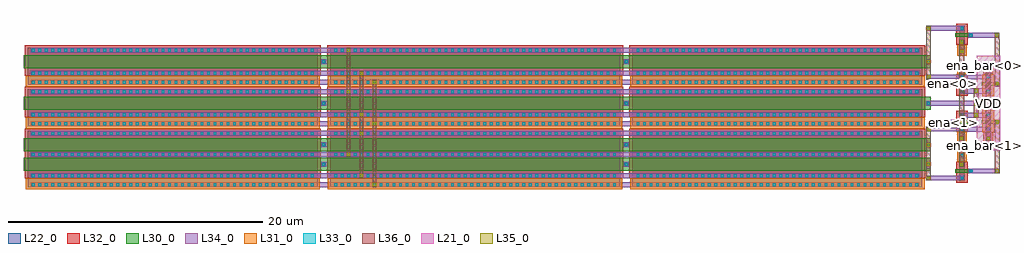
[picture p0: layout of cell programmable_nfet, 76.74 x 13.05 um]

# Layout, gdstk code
from math import pi, radians
import gdstk
lib = gdstk.Library(unit=1e-6, precision=5e-09)
def R(c, l, rs):  # rectangles x0, y0, x1, y1
    for r in rs: c.add(gdstk.rectangle(r[:2], r[2:], *l))
def A(c, l, x, y, w, h, nx, ny, dx, dy):  # array of equal rectangles
    R(c, l, [(x+i*dx, y+j*dy, x+i*dx+w, y+j*dy+h) for i in range(nx) for j in range(ny)])
L21_0 = (21, 0)
L22_0 = (22, 0)
L30_0 = (30, 0)
L31_0 = (31, 0)
L32_0 = (32, 0)
L33_0 = (33, 0)
L34_0 = (34, 0)
L35_0 = (35, 0)
L36_0 = (36, 0)

nfet_5 = lib.new_cell('nfet$5')
R(nfet_5, L22_0, [(-0.42,0,0,22.8), (0,0,2.9,22.8), (2.9,0,3.32,22.8), (3.32,0,4.03,22.8)])
R(nfet_5, L30_0, [(0.19,-0.3,1.19,23.1), (1.71,-0.3,2.71,23.1), (0.19,23.1,1.19,23.46), (1.71,23.1,2.71,23.46)])
R(nfet_5, L31_0, [(3.32,-0.17,4.2,22.97)])
R(nfet_5, L32_0, [(-0.59,-0.24,3.32,23.04)])
A(nfet_5, L33_0, -0.32, 0.325, 0.22, 0.22, 3, 44, 1.66, 0.51)
A(nfet_5, L33_0, 3.71, 0.325, 0.22, 0.22, 1, 44, 0, 0.51)
R(nfet_5, L33_0, [(0.58,23.17,0.8,23.39), (2.1,23.17,2.32,23.39)])
A(nfet_5, L34_0, -0.4, 0.245, 0.38, 22.31, 3, 1, 1.66, 0)
R(nfet_5, L34_0, [(3.63,0.245,4.01,22.555), (0.5,23.09,0.88,23.47), (2.02,23.09,2.4,23.47)])

nfet_1 = lib.new_cell('nfet$1')
R(nfet_1, L22_0, [(-0.42,0,0,22.8), (0,0,1.38,22.8), (1.38,0,1.8,22.8), (1.8,0,2.51,22.8)])
R(nfet_1, L30_0, [(0.19,-0.3,1.19,23.1), (0.19,23.1,1.19,23.46)])
R(nfet_1, L31_0, [(1.8,-0.17,2.68,22.97)])
R(nfet_1, L32_0, [(-0.59,-0.24,1.8,23.04)])
A(nfet_1, L33_0, -0.32, 0.325, 0.22, 0.22, 1, 44, 0, 0.51)
A(nfet_1, L33_0, 1.48, 0.325, 0.22, 0.22, 1, 44, 0, 0.51)
A(nfet_1, L33_0, 2.19, 0.325, 0.22, 0.22, 1, 44, 0, 0.51)
R(nfet_1, L33_0, [(0.58,23.17,0.8,23.39)])
R(nfet_1, L34_0, [(-0.4,0.245,-0.02,22.555), (1.4,0.245,1.78,22.555), (2.11,0.245,2.49,22.555), (0.5,23.09,0.88,23.47)])

nfet_2 = lib.new_cell('nfet$2')
R(nfet_2, L22_0, [(-0.42,0,0,22.8), (0,0,2.9,22.8), (2.9,0,3.32,22.8), (3.32,0,4.03,22.8)])
R(nfet_2, L30_0, [(0.19,-0.3,1.19,23.1), (1.71,-0.3,2.71,23.1), (0.19,23.1,1.19,23.46), (1.71,23.1,2.71,23.46)])
R(nfet_2, L31_0, [(3.32,-0.17,4.2,22.97)])
R(nfet_2, L32_0, [(-0.59,-0.24,3.32,23.04)])
A(nfet_2, L33_0, -0.32, 0.325, 0.22, 0.22, 3, 44, 1.66, 0.51)
A(nfet_2, L33_0, 3.71, 0.325, 0.22, 0.22, 1, 44, 0, 0.51)
R(nfet_2, L33_0, [(0.58,23.17,0.8,23.39), (2.1,23.17,2.32,23.39)])
A(nfet_2, L34_0, -0.4, 0.245, 0.38, 22.31, 3, 1, 1.66, 0)
R(nfet_2, L34_0, [(3.63,0.245,4.01,22.555), (0.5,23.09,0.88,23.47), (2.02,23.09,2.4,23.47)])

nfet = lib.new_cell('nfet')
R(nfet, L22_0, [(-0.42,-0.01,0,0.43), (0.66,-0.01,1.08,0.43), (1.08,-0.01,1.79,0.43), (0,0,0.66,0.42)])
R(nfet, L30_0, [(0.19,-0.3,0.47,0.72), (0.15,0.72,0.51,1.08)])
R(nfet, L31_0, [(1.08,-0.17,1.96,0.59)])
R(nfet, L32_0, [(-0.59,-0.25,1.08,0.67)])
R(nfet, L33_0, [(-0.32,0.1,-0.1,0.32), (0.76,0.1,0.98,0.32), (1.47,0.1,1.69,0.32), (0.22,0.79,0.44,1.01)])
R(nfet, L34_0, [(-0.4,0.02,-0.02,0.4), (0.68,0.02,1.06,0.4), (1.39,0.02,1.77,0.4), (0.14,0.71,0.52,1.09)])

pfet = lib.new_cell('pfet')

pfet_1 = lib.new_cell('pfet$1')
R(pfet_1, L21_0, [(-1.16,-0.71,2.55,1.13)])
R(pfet_1, L22_0, [(-0.46,-0.01,0,0.43), (0.66,-0.01,1.12,0.43), (1.12,-0.01,1.85,0.43), (0,0,0.66,0.42)])
R(pfet_1, L30_0, [(0.19,-0.3,0.47,0.72), (0.14,0.72,0.52,1.1)])
R(pfet_1, L31_0, [(-0.63,-0.25,1.12,0.67)])
R(pfet_1, L32_0, [(1.12,-0.17,2.02,0.59)])
R(pfet_1, L33_0, [(-0.34,0.1,-0.12,0.32), (0.78,0.1,1,0.32), (1.51,0.1,1.73,0.32), (0.22,0.8,0.44,1.02)])
R(pfet_1, L34_0, [(-0.42,0.02,-0.04,0.4), (0.7,0.02,1.08,0.4), (1.43,0.02,1.81,0.4), (0.14,0.72,0.52,1.1)])

transmission_gate_1 = lib.new_cell('transmission_gate$1')
R(transmission_gate_1, L34_0, [(-1.54,-0.6,0.915,-0.225), (-1.54,0.48,0.915,0.895)])
transmission_gate_1.add(gdstk.Reference(nfet, (0.515,0.46), rotation=3*pi/2))
transmission_gate_1.add(gdstk.Reference(pfet, (-1.075,0.09), rotation=3*pi/2))
transmission_gate_1.add(gdstk.Reference(pfet, (-0.98,0.115), rotation=3*pi/2))
transmission_gate_1.add(gdstk.Reference(pfet, (-0.925,-0.105), rotation=3*pi/2))
transmission_gate_1.add(gdstk.Reference(pfet, (-1.045,0.115), rotation=3*pi/2))
transmission_gate_1.add(gdstk.Reference(pfet, (-3.895,0.255), rotation=3*pi/2))
transmission_gate_1.add(gdstk.Reference(pfet, (-4.225,0.69), rotation=3*pi/2))
transmission_gate_1.add(gdstk.Reference(pfet, (-3.75,0.445), rotation=3*pi/2))
transmission_gate_1.add(gdstk.Reference(pfet, (-4.065,-0.635), rotation=3*pi/2))
transmission_gate_1.add(gdstk.Reference(pfet, (-4.08,-0.7), rotation=3*pi/2))
transmission_gate_1.add(gdstk.Reference(pfet, (-4.065,-0.57), rotation=3*pi/2))
transmission_gate_1.add(gdstk.Reference(pfet, (-1.45,0.065), rotation=3*pi/2))
transmission_gate_1.add(gdstk.Reference(pfet, (-1.48,0.125), rotation=3*pi/2))
transmission_gate_1.add(gdstk.Reference(pfet, (-1.645,0.065), rotation=3*pi/2))
transmission_gate_1.add(gdstk.Reference(pfet, (-0.11,-0.01), rotation=3*pi/2))
transmission_gate_1.add(gdstk.Reference(pfet, (-0.335,0.205), rotation=3*pi/2))
transmission_gate_1.add(gdstk.Reference(pfet, (-1.17,0.295), rotation=3*pi/2))
transmission_gate_1.add(gdstk.Reference(pfet_1, (-1.14,0.475), rotation=3*pi/2, x_reflection=True))
transmission_gate_1.add(gdstk.Label('in', (-0.32,0.68), layer=34, texttype=10))
transmission_gate_1.add(gdstk.Label('out', (-0.345,-0.395), layer=34, texttype=10))
transmission_gate_1.add(gdstk.Label('VDD', (-1.36,-1.17), layer=34, texttype=10))
transmission_gate_1.add(gdstk.Label('VSS', (0.72,-1.135), layer=34, texttype=10))
transmission_gate_1.add(gdstk.Label('ena_bar', (-2.055,0.15), layer=34, texttype=10))
transmission_gate_1.add(gdstk.Label('ena', (1.385,0.1), layer=34, texttype=10))

nfet_3 = lib.new_cell('nfet$3')
R(nfet_3, L22_0, [(-0.42,-0.01,0,0.43), (0.66,-0.01,1.08,0.43), (1.08,-0.01,1.79,0.43), (0,0,0.66,0.42)])
R(nfet_3, L30_0, [(0.19,-0.3,0.47,0.72), (0.15,0.72,0.51,1.08)])
R(nfet_3, L31_0, [(1.08,-0.17,1.96,0.59)])
R(nfet_3, L32_0, [(-0.59,-0.25,1.08,0.67)])
R(nfet_3, L33_0, [(-0.32,0.1,-0.1,0.32), (0.76,0.1,0.98,0.32), (1.47,0.1,1.69,0.32), (0.22,0.79,0.44,1.01)])
R(nfet_3, L34_0, [(-0.4,0.02,-0.02,0.4), (0.68,0.02,1.06,0.4), (1.39,0.02,1.77,0.4), (0.14,0.71,0.52,1.09)])

nfet_4 = lib.new_cell('nfet$4')
R(nfet_4, L22_0, [(-0.42,-0.01,0,0.43), (0.66,-0.01,1.08,0.43), (1.08,-0.01,1.79,0.43), (0,0,0.66,0.42)])
R(nfet_4, L30_0, [(0.15,-0.66,0.51,-0.3), (0.19,-0.3,0.47,0.72)])
R(nfet_4, L31_0, [(1.08,-0.17,1.96,0.59)])
R(nfet_4, L32_0, [(-0.59,-0.25,1.08,0.67)])
R(nfet_4, L33_0, [(0.22,-0.59,0.44,-0.37), (-0.32,0.1,-0.1,0.32), (0.76,0.1,0.98,0.32), (1.47,0.1,1.69,0.32)])
R(nfet_4, L34_0, [(0.14,-0.67,0.52,-0.29), (-0.4,0.02,-0.02,0.4), (0.68,0.02,1.06,0.4), (1.39,0.02,1.77,0.4)])

programmable_nfet = lib.new_cell('programmable_nfet')
R(programmable_nfet, L30_0, [(18.225,-9.25,53.3,-8.25), (18.225,-7.73,53.3,-6.73), (18.025,-4.46,53.1,-3.46), (17.9,-1.19,52.975,-0.19)])
R(programmable_nfet, L34_0, [(17.515,-10.55,54.725,-10.17), (70.63,-10.02,73.635,-9.67), (17.53,-9.84,54.74,-9.46), (73.945,-9.48,76.41,-9.1), (70.63,-9.095,71,-8.94), (71,-9.095,71.01,-8.94), (17.485,-8.18,54.695,-7.8), (17.485,-6.52,54.695,-6.14), (70.63,-6.18,73.255,-5.88), (17.485,-5.76,54.695,-5.38), (17.475,-5.05,54.685,-4.67), (70.63,-4.15,74.785,-3.77), (17.49,-3.25,54.7,-2.87), (17.445,-2.49,54.655,-2.11), (70.63,-2.025,73.255,-1.725), (17.43,-1.78,54.64,-1.4), (17.445,0.02,54.655,0.4), (73.935,1.2,76.4,1.58), (70.63,1.74,73.255,2.12)])
R(programmable_nfet, L35_0, [(27.135,-10.475,27.395,-10.215), (70.685,-9.98,70.945,-9.72), (26.1,-9.76,26.36,-9.5), (76.095,-9.41,76.355,-9.15), (73.31,-8.885,73.57,-8.625), (70.69,-8.86,70.95,-8.6), (25.08,-8.105,25.34,-7.845), (70.69,-7.365,70.95,-7.105), (75.385,-6.865,75.645,-6.605), (73.31,-6.835,73.57,-6.575), (26.1,-6.47,26.36,-6.21), (70.725,-6.16,70.985,-5.9), (27.135,-5.7,27.395,-5.44), (76.09,-5.57,76.35,-5.31), (74.43,-5.025,74.69,-4.765), (26.1,-4.99,26.36,-4.73), (74.425,-4.105,74.685,-3.845), (25.08,-3.19,25.34,-2.93), (74.46,-3.135,74.72,-2.875), (76.09,-2.55,76.35,-2.29), (27.135,-2.435,27.395,-2.175), (70.735,-2,70.995,-1.74), (26.1,-1.725,26.36,-1.465), (73.31,-1.32,73.57,-1.06), (75.39,-1.3,75.65,-1.04), (70.69,-0.82,70.95,-0.56), (73.315,0.005,73.575,0.265), (25.08,0.075,25.34,0.335), (73.31,0.715,73.57,0.975), (76.08,1.26,76.34,1.52), (70.685,1.795,70.945,2.055)])
R(programmable_nfet, L36_0, [(27.115,-10.55,27.415,-2.11), (70.63,-10.02,71.01,-9.445), (26.08,-9.84,26.38,-1.4), (76.03,-9.48,76.41,-8.96), (70.63,-9.445,71.01,-5.805), (76.03,-8.96,76.41,-5.25), (73.255,-8.94,73.635,-8.365), (73.255,-8.365,73.635,0.465), (25.06,-8.18,25.36,0.4), (75.33,-6.92,75.71,-0.98), (74.37,-5.105,74.785,-2.795), (76.03,-2.66,76.41,1.05), (70.63,-2.095,71.01,1.545), (73.255,0.065,73.635,0.465), (73.255,0.465,73.635,1.04), (76.03,1.05,76.4,1.58), (70.63,1.545,71.01,2.12)])
programmable_nfet.add(gdstk.Reference(nfet_5, (0,-6.54), rotation=3*pi/2))
programmable_nfet.add(gdstk.Reference(nfet_1, (0,-3.27), rotation=3*pi/2))
programmable_nfet.add(gdstk.Reference(nfet_1, (0,0), rotation=3*pi/2))
programmable_nfet.add(gdstk.Reference(nfet_1, (23.77,-3.27), rotation=3*pi/2))
programmable_nfet.add(gdstk.Reference(nfet_1, (23.77,0), rotation=3*pi/2))
programmable_nfet.add(gdstk.Reference(nfet_2, (47.54,-6.54), rotation=3*pi/2))
programmable_nfet.add(gdstk.Reference(nfet_1, (47.54,-3.27), rotation=3*pi/2))
programmable_nfet.add(gdstk.Reference(nfet_1, (47.54,0), rotation=3*pi/2))
programmable_nfet.add(gdstk.Reference(nfet_2, (23.77,-6.54), rotation=3*pi/2))
programmable_nfet.add(gdstk.Reference(transmission_gate_1, (74.17,-5.585), rotation=pi, x_reflection=True))
programmable_nfet.add(gdstk.Reference(transmission_gate_1, (74.17,-2.315), rotation=pi))
programmable_nfet.add(gdstk.Reference(nfet_3, (73.235,1.72), rotation=3*pi/2))
programmable_nfet.add(gdstk.Reference(nfet_4, (73.655,-9.62), rotation=pi/2))
programmable_nfet.add(gdstk.Label('ena<0>', (72.74,-2.445), layer=34, texttype=10))
programmable_nfet.add(gdstk.Label('ena<1>', (72.75,-5.47), layer=34, texttype=10))
programmable_nfet.add(gdstk.Label('VDD', (75.53,-3.95), layer=36, texttype=10))
programmable_nfet.add(gdstk.Label('VSS', (73.43,-4.34), layer=36, texttype=10))
programmable_nfet.add(gdstk.Label('ena_bar<1>', (76.255,-7.285), layer=36, texttype=10))
programmable_nfet.add(gdstk.Label('ena_bar<0>', (76.185,-0.985), layer=36, texttype=10))
programmable_nfet.add(gdstk.Label('g', (74.5,-4.025), layer=36, texttype=10))

lib.write_gds('programmable_nfet.gds')
